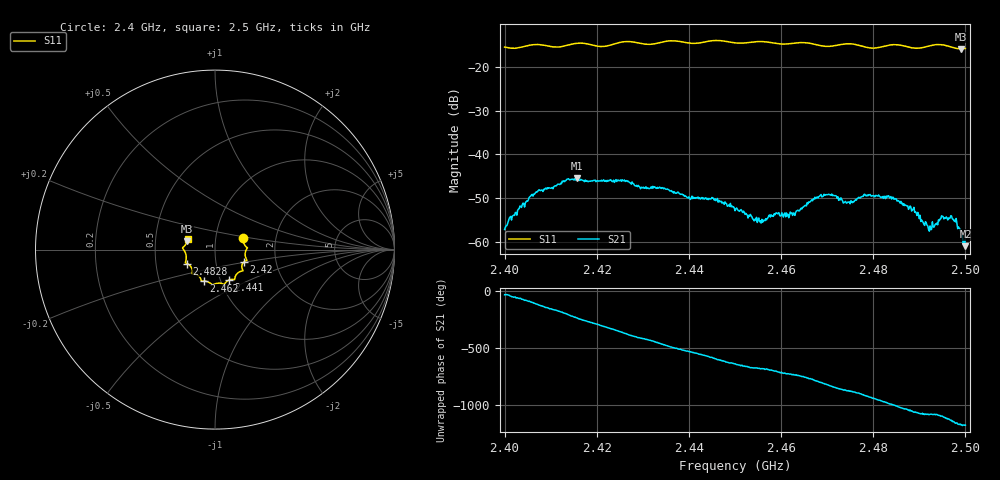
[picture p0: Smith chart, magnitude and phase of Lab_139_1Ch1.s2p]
# Hz S RI R 50
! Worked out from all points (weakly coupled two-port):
!   601 points, 2.4 GHz to 2.5 GHz, reference 50 ohm
!   highest |S21| = -45.51 dB at 2.4157 GHz (marker M1); lowest = -61.0 dB at 2.5 GHz (marker M2)
!   lowest |S11| = -15.8 dB at 2.499 GHz (marker M3), VSWR 1.39, Z = 36.5 + j3.49 ohm
!   |S11| at or under -10 dB: start of sweep to end of sweep
!   S12 and S22 are empty: the file has one direction only
!   S11 on the Smith chart (normalised r, x): 2.4 GHz: 1.36, +0.18; 2.42 GHz: 1.36, -0.20; 2.441 GHz: 1.10, -0.39; 2.462 GHz: 0.84, -0.30; 2.4828 GHz: 0.72, -0.12; 2.5 GHz: 0.73, +0.09
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2.4e9  0.1574 0.0629  0.0012 -0.000673  0 0  0 0
2.407e9  0.181 0.0101  -0.00144 -0.00339  0 0  0 0
2.415667e9  0.1776 -0.058  -0.00323 0.0042  0 0  0 0
2.416667e9  0.1779 -0.06  -0.00201 0.00471  0 0  0 0
2.42e9  0.1593 -0.0697  0.00152 0.00471  0 0  0 0
2.433333e9  0.1125 -0.1511  -0.000175 -0.00409  0 0  0 0
2.441e9  0.0782 -0.1695  -0.00322 -0.000204  0 0  0 0
2.45e9  0.0285 -0.1872  0.000257 0.00225  0 0  0 0
2.455833e9  -0.0146 -0.1954  0.00135 0.00119  0 0  0 0
2.462e9  -0.0605 -0.1755  0.00216 -0.000239  0 0  0 0
2.466667e9  -0.0777 -0.1682  0.00194 -0.00232  0 0  0 0
2.469833e9  -0.0938 -0.1448  -0.000407 -0.00344  0 0  0 0
2.474e9  -0.1249 -0.1355  -0.00246 -0.00151  0 0  0 0
2.4785e9  -0.1276 -0.11  -0.00318 0.00104  0 0  0 0
2.482833e9  -0.1574 -0.0775  -0.000838 0.00322  0 0  0 0
2.483333e9  -0.1606 -0.0762  -0.000289 0.00335  0 0  0 0
2.488333e9  -0.1599 -0.0454  0.00193 0.00114  0 0  0 0
2.492167e9  -0.1747 -0.000754  0.00132 -7.47e-05  0 0  0 0
2.494667e9  -0.1801 0.0102  0.00175 -0.000531  0 0  0 0
2.496833e9  -0.1687 0.0216  0.00116 -0.00161  0 0  0 0
2.499e9  -0.1546 0.0466  -5.6e-05 -0.00129  0 0  0 0
2.5e9  -0.1517 0.0612  -8.03e-05 -0.000884  0 0  0 0
